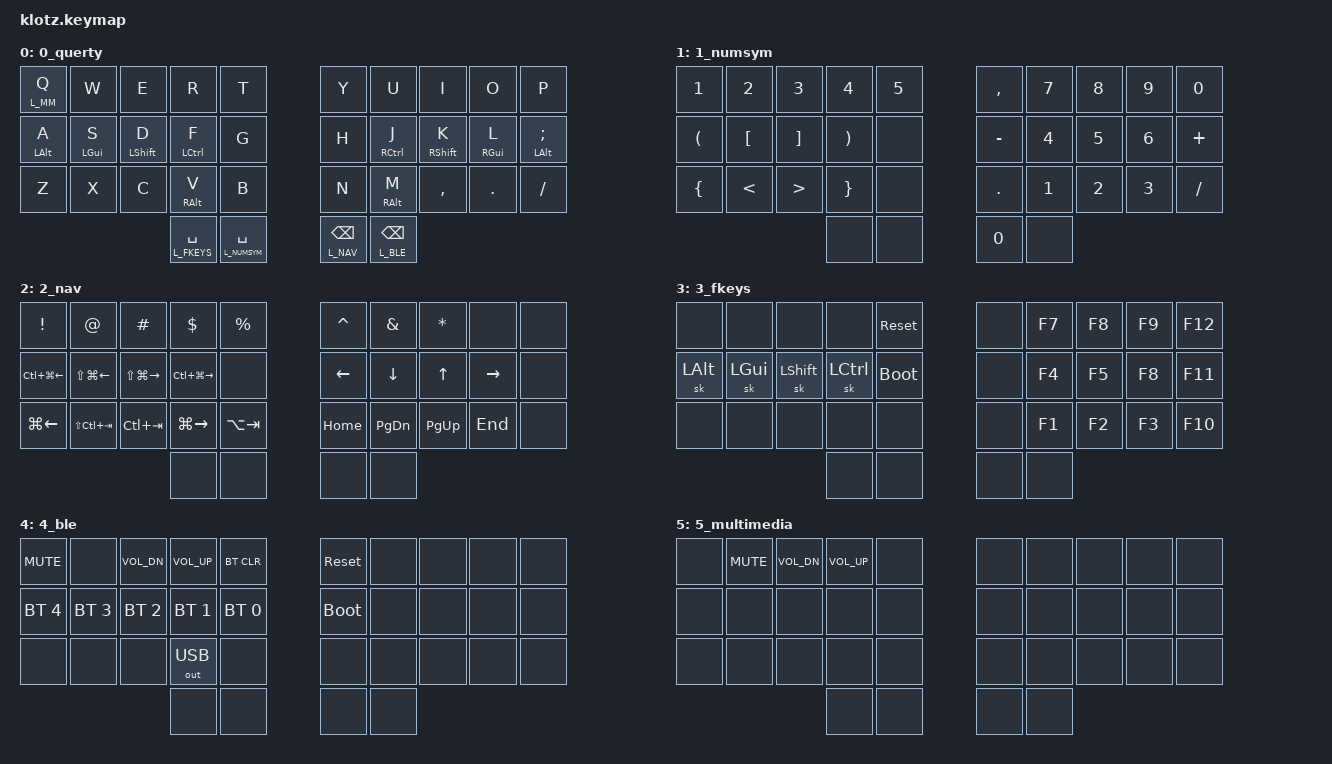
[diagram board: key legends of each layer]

//                                      █         ██        ▄▀▀▀▀▀▀▀▀▀▀█▀▀▀▀▀▀▀▀█▀▀▀▀▀▀▀▀▀▀█
//                                      █        █ █      ▄▀            ▀▄      █         █
//                                      █       █  █    ▄▀                ▀▄    █        █
//                                      █      █   █   █                    █   █       █
//                                      █     █    █   █                    █   █      █
//                                      █    █     █   █                    █   █  ▀▀▀█▀▀▀▀
//                                      █   █ █    █   █                    █   █    █
//                                      █  █   █   █   █                    █   █   █
//                                      █ █     █  █    ▀▄                ▄▀    █  █
//                                      ██       █ █      ▀▄            ▄▀      █ █
//                                      █         ██▄▄▄▄▄▄▄▄█▄▄▄▄▄▄▄▄▄▄▀        ██▄▄▄▄▄▄▄▄▄▄
//
// ▄▄▄▄▄▄▄▄▄▄▄▄▄▄▄▄▄▄▄▄▄▄▄▄▄▄▄▄▄▄▄▄▄▄▄▄▄▄▄▄▄▄▄▄▄▄▄▄▄▄▄▄▄▄▄▄▄▄▄▄▄▄▄▄▄▄▄▄▄▄▄▄▄▄▄▄▄▄▄▄▄▄▄▄▄▄▄▄▄▄▄▄▄▄▄▄▄▄▄▄▄▄▄▄▄▄▄▄▄▄▄▄▄▄▄▄▄▄▄▄▄▄▄▄▄

#include <behaviors.dtsi>
#include <dt-bindings/zmk/keys.h>
#include <dt-bindings/zmk/bt.h>
#include <dt-bindings/zmk/outputs.h>

#define L_QWERTY 0
#define L_NUMSYM 1
#define L_NAV 2
#define L_FKEYS 3
#define L_BLE 4
#define L_MM 5

&mt {
    tapping_term_ms = <150>;
    flavor = "tap-preferred";
};

&lt {
    tapping_term_ms = <150>;
    flavor = "tap-preferred";
    quick-tap-ms = <150>;
};

&caps_word {
    continue-list = <UNDERSCORE MINUS BACKSPACE>;
};

&sk {
    release-after-ms = <1000>;
    quick-release;
    /delete-property/ ignore-modifiers;
};

/ {
    behaviors {
        hml: homerow_mods_left {
            compatible = "zmk,behavior-hold-tap";
            label = "HOMEROW_MODS_LEFT";
            #binding-cells = <2>;
            tapping-term-ms = <150>;
            quick-tap-ms = <150>;
            global-quick-tap;
            flavor = "tap-preferred";
            bindings = <&kp>, <&kp>;
            hold-trigger-key-positions = <5 6 7 8 9 15 16 17 18 19 25 26 27 28 29>;
        };
        hmls: homerow_mods_left_shift {
            compatible = "zmk,behavior-hold-tap";
            label = "HOMEROW_MODS_LEFT_SHIFT";
            #binding-cells = <2>;
            tapping-term-ms = <90>;
            quick-tap-ms = <150>;
            global-quick-tap;
            flavor = "hold-preferred";
            bindings = <&kp>, <&kp>;
            hold-trigger-key-positions = <5 6 7 8 9 15 16 17 18 19 25 26 27 28 29>;
        };
        hmla: homerow_mods_left_altgr {
            compatible = "zmk,behavior-hold-tap";
            label = "HOMEROW_MODS_LEFT_ALTGR";
            #binding-cells = <2>;
            tapping-term-ms = <140>;
            quick-tap-ms = <150>;
            global-quick-tap;
            flavor = "hold-preferred";
            bindings = <&kp>, <&kp>;
            hold-trigger-key-positions = <5 6 7 8 9 15 16 17 18 19 25 26 27 28 29>;
        };
        hmr: homerow_mods_right {
            compatible = "zmk,behavior-hold-tap";
            label = "HOMEROW_MODS_RIGHT";
            #binding-cells = <2>;
            tapping-term-ms = <150>;
            quick-tap-ms = <150>;
            global-quick-tap;
            flavor = "tap-preferred";
            bindings = <&kp>, <&kp>;
            hold-trigger-key-positions = <0 1 2 3 4 10 11 12 13 14 20 21 22 23 24>;
        };
        hmrs: homerow_mods_right_shift {
            compatible = "zmk,behavior-hold-tap";
            label = "HOMEROW_MODS_RIGHT_SHIFT";
            #binding-cells = <2>;
            tapping-term-ms = <90>;
            quick-tap-ms = <150>;
            global-quick-tap;
            flavor = "hold-preferred";
            bindings = <&kp>, <&kp>;
            hold-trigger-key-positions = <0 1 2 3 4 10 11 12 13 14 20 21 22 23 24>;
        };
        hmra: homerow_mods_right_altgr {
            compatible = "zmk,behavior-hold-tap";
            label = "HOMEROW_MODS_RIGHT_ALTGR";
            #binding-cells = <2>;
            tapping-term-ms = <140>;
            quick-tap-ms = <150>;
            global-quick-tap;
            flavor = "hold-preferred";
            bindings = <&kp>, <&kp>;
            hold-trigger-key-positions = <0 1 2 3 4 10 11 12 13 14 20 21 22 23 24>;
        };
    };

    combos {
        compatible = "zmk,combos";
        combo_sticky_shift_left {
            timeout-ms = <30>;
            key-positions = <11 12>;
            bindings = <&sk LSHIFT>;
        };
        combo_sticky_shift_right {
            timeout-ms = <30>;
            key-positions = <17 18>;
            bindings = <&sk RSHIFT>;
        };
        combo_sticky_altgr_left {
            timeout-ms = <30>;
            key-positions = <10 11>;
            bindings = <&sk RALT>;
        };
        combo_sticky_altggr_right {
            timeout-ms = <30>;
            key-positions = <18 19>;
            bindings = <&sk RALT>;
        };
        combo_copy {
            timeout-ms = <30>;
            key-positions = <20 22>;
            bindings = <&kp LC(C)>;
        };
        combo_cut {
            timeout-ms = <30>;
            key-positions = <20 21>;
            bindings = <&kp LC(X)>;
        };
        combo_paste {
            timeout-ms = <30>;
            key-positions = <21 22>;
            bindings = <&kp LC(V)>;
        };
        combo_tab {
            timeout-ms = <30>;
            key-positions = <1 3>;
            bindings = <&kp TAB>;
        };
        combo_esc {
            timeout-ms = <30>;
            key-positions = <1 2 3>;
            bindings = <&kp ESC>;
        };
        combo_reset_left {
            timeout-ms = <30>;
            key-positions = <0 1 2 3>;
            bindings = <&sys_reset>;
        };
        /*combo_bootloader_left {*/
            /*timeout-ms = <30>;*/
            /*key-positions = <20 21 22 23>;*/
            /*bindings = <&bootloader>;*/
        /*};*/
        combo_reset_right {
            timeout-ms = <30>;
            key-positions = <6 7 8 9>;
            bindings = <&sys_reset>;
        };
        /*combo_bootloader_right {*/
            /*timeout-ms = <30>;*/
            /*key-positions = <26 27 28 29>;*/
            /*bindings = <&bootloader>;*/
        /*};*/
        combo_vm_exit {
            timeout-ms = <50>;
            key-positions = <10 11 12 13>;
            bindings = <&kp K_APPLICATION>;
        };
        combo_minus {
            timeout-ms = <30>;
            key-positions = <6 7>;
            bindings = <&kp MINUS>;
        };
        combo_equals {
            timeout-ms = <30>;
            key-positions = <7 8>;
            bindings = <&kp EQUAL>;
        };
        combo_underscore {
            timeout-ms = <30>;
            key-positions = <26 27>;
            bindings = <&kp UNDERSCORE>;
        };
        combo_double_quotes {
            timeout-ms = <30>;
            key-positions = <1 2>;
            bindings = <&kp DOUBLE_QUOTES>;
        };
        combo_single_quote {
            timeout-ms = <30>;
            key-positions = <2 3>;
            bindings = <&kp SINGLE_QUOTE>;
        };
        combo_backtick {
            timeout-ms = <30>;
            key-positions = <22 23>;
            bindings = <&kp GRAVE>;
        };
        combo_excl {
            timeout-ms = <30>;
            key-positions = <27 28>;
            bindings = <&kp EXCLAMATION>;
        };
        combo_pipe {
            timeout-ms = <30>;
            key-positions = <26 27 28>;
            bindings = <&kp PIPE>;
        };
        combo_backslash {
            timeout-ms = <30>;
            key-positions = <28 29>;
            bindings = <&kp BACKSLASH>;
        };
        combo_delete {
            timeout-ms = <30>;
            key-positions = <12 13>;
            bindings = <&kp DELETE>;
        };
        combo_enter {
            timeout-ms = <30>;
            key-positions = <16 17>;
            bindings = <&kp ENTER>;
        };
        combo_capslock {
            timeout-ms = <30>;
            key-positions = <6 7 8>;
            bindings = <&caps_word>;
        };
        combo_fkeys {
            timeout-ms = <30>;
            key-positions = <20 21 22>;
            bindings = <&sl L_FKEYS>;
        };
    };

    /*
    // Numbers:
    //  0  1  2  3  4   |    5  6  7  8  9
    // 10 11 12 13 14   |   15 16 17 18 19
    // 20 21 22 23 24   |   25 26 27 28 29
    //          30 31   |   32 33
    */

    keymap {
        compatible = "zmk,keymap";
        0_querty {
            bindings = <
    &lt L_MM Q       &kp W       &kp E           &kp R           &kp T       &kp Y   &kp U           &kp I           &kp O       &kp P
    &hml LALT A &hml LGUI S &hmls LSHIFT D   &hml LCTRL F    &kp G       &kp H   &hmr RCTRL J    &hmrs RSHFT K    &hmr RGUI L &hmr LALT SEMICOLON
    &kp Z       &kp X       &kp C           &hmla RALT V     &kp B       &kp N   &hmra RALT M     &kp COMMA       &kp DOT     &kp SLASH
                            &lt L_FKEYS SPC  &lt L_NUMSYM SPC           &lt L_NAV BSPC  &lt L_BLE BSPC
            >;
        };

        1_numsym {
            bindings = <
    &kp N1      &kp N2      &kp N3      &kp N4      &kp N5          &kp COMMA   &kp N7       &kp N8     &kp N9      &kp N0
    &kp LPAR    &kp LBKT    &kp RBKT    &kp RPAR    &none           &kp MINUS   &kp N4       &kp N5     &kp N6      &kp PLUS
    &kp LBRC    &kp LT      &kp GT      &kp RBRC    &none           &kp DOT     &kp N1       &kp N2     &kp N3      &kp SLASH
                                        &none       &none           &kp N0      &none
            >;
        };

        2_nav {
            bindings = <
    &kp EXCL    &kp AT      &kp HASH    &kp DOLLAR  &kp PRCNT       &kp CARET   &kp AMPS    &kp ASTRK   &none       &none
    &kp LC(LG(LEFT)) &kp LS(LG(LEFT)) &kp LS(LG(RIGHT)) &kp LC(LG(RIGHT)) &none     &kp LEFT    &kp DOWN    &kp UP      &kp RIGHT   &none
    &kp LG(LEFT)     &kp LS(LC(TAB))  &kp LC(TAB)   &kp LG(RIGHT)   &kp LA(TAB)     &kp HOME    &kp PG_DN   &kp PG_UP   &kp END     &none
                                        &none       &none           &none       &none
            >;
        };

        3_fkeys {
            bindings = <
    &none       &none       &none       &none       &sys_reset          &none   &kp F7  &kp F8  &kp F9  &kp F12
    &sk LEFT_ALT &sk LEFT_GUI &sk LEFT_SHIFT &sk LEFT_CONTROL &bootloader   &none   &kp F4  &kp F5  &kp F8  &kp F11
    &none       &none       &none       &none       &none           &none   &kp F1  &kp F2  &kp F3  &kp F10
                                        &none       &none           &none   &none
            >;
        };

        4_ble {
            bindings = <
    &kp C_MUTE      &none           &kp C_VOL_DN    &kp C_VOL_UP    &bt BT_CLR      &sys_reset        &none   &none   &none   &none
    &bt BT_SEL 4    &bt BT_SEL 3    &bt BT_SEL 2    &bt BT_SEL 1    &bt BT_SEL 0    &bootloader   &none   &none   &none   &none
    &none           &none           &none           &out OUT_USB    &none           &none         &none   &none   &none   &none
                                                    &none           &none           &none         &none
            >;
        };

        5_multimedia {
            bindings = <
    &none           &kp C_MUTE      &kp C_VOL_DN    &kp C_VOL_UP    &none           &none         &none   &none   &none   &none
    &none           &none           &none           &none           &none           &none         &none   &none   &none   &none
    &none           &none           &none           &none           &none           &none         &none   &none   &none   &none
                                                    &none           &none           &none         &none
            >;
        };

    };
};
